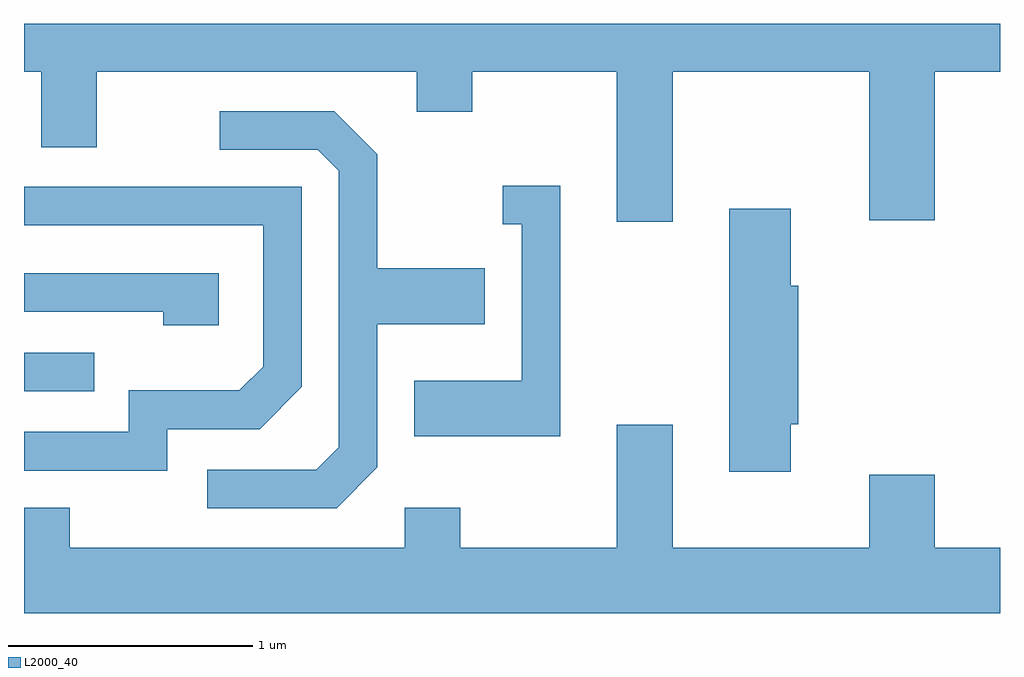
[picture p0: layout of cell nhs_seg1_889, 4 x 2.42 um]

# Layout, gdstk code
import gdstk
lib = gdstk.Library(unit=1e-6, precision=1e-09)
def R(c, l, rs):  # rectangles x0, y0, x1, y1
    for r in rs: c.add(gdstk.rectangle(r[:2], r[2:], *l))
def P(c, l, *ps):  # polygons
    for p in ps: c.add(gdstk.Polygon(p, *l))
L2000_40 = (2000, 40)

nhs_seg1_889 = lib.new_cell('nhs_seg1_889')
R(nhs_seg1_889, L2000_40, [(211.611,958.206,211.898,958.364)])
P(nhs_seg1_889, L2000_40, [(214.269,959.516),(215.076,959.516),(215.076,958.906),(215.344,958.906),(215.344,959.516),(215.611,959.516),(215.611,959.712),(211.611,959.712),(211.611,959.516),(211.681,959.516),(211.681,959.206),(211.909,959.206),(211.909,959.516),(213.221,959.516),(213.221,959.351),(213.449,959.351),(213.449,959.516),(214.041,959.516),(214.041,958.901),(214.269,958.901)],
  [(213.059,957.894),(213.059,958.481),(213.499,958.481),(213.499,958.709),(213.059,958.709),(213.059,959.177),(212.882,959.354),(212.413,959.354),(212.413,959.196),(212.814,959.196),(212.901,959.109),(212.901,957.977),(212.809,957.884),(212.363,957.884),(212.363,957.726),(212.892,957.726)],
  [(213.809,959.049),(213.573,959.049),(213.573,958.891),(213.651,958.891),(213.651,958.249),(213.211,958.249),(213.211,958.021),(213.809,958.021)],
  [(212.199,958.051),(212.577,958.051),(212.749,958.224),(212.749,959.044),(211.611,959.044),(211.611,958.886),(212.591,958.886),(212.591,958.307),(212.494,958.209),(212.041,958.209),(212.041,958.039),(211.611,958.039),(211.611,957.881),(212.199,957.881)],
  [(214.754,958.071),(214.784,958.071),(214.784,958.639),(214.754,958.639),(214.754,958.954),(214.501,958.954),(214.501,957.876),(214.754,957.876)],
  [(212.409,958.689),(211.611,958.689),(211.611,958.531),(212.181,958.531),(212.181,958.476),(212.409,958.476)],
  [(215.611,957.564),(215.344,957.564),(215.344,957.864),(215.076,957.864),(215.076,957.564),(214.269,957.564),(214.269,958.069),(214.041,958.069),(214.041,957.564),(213.399,957.564),(213.399,957.729),(213.171,957.729),(213.171,957.564),(211.799,957.564),(211.799,957.729),(211.611,957.729),(211.611,957.296),(215.611,957.296)])

lib.write_gds('nhs_seg1_889.gds')
